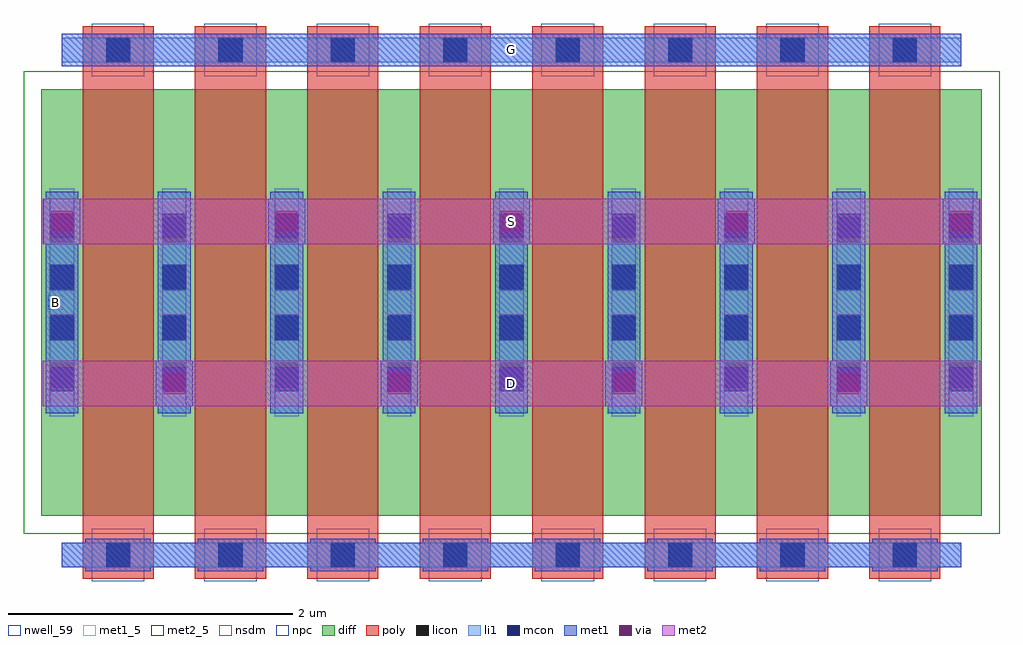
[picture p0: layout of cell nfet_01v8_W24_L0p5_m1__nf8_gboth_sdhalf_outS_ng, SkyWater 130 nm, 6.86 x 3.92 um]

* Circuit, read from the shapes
.subckt nfet_01v8_W24_L0p5_m1__nf8_gboth_sdhalf_outS_ng B D G S
XM1 D G S B sky130_fd_pr__nfet_01v8 w=3 l=0.5 m=8
.ends

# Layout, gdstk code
import gdstk
lib = gdstk.Library(unit=1e-6, precision=1e-09)
def R(c, l, rs):  # rectangles x0, y0, x1, y1
    for r in rs: c.add(gdstk.rectangle(r[:2], r[2:], *l))
def A(c, l, x, y, w, h, nx, ny, dx, dy):  # array of equal rectangles
    R(c, l, [(x+i*dx, y+j*dy, x+i*dx+w, y+j*dy+h) for i in range(nx) for j in range(ny)])
nwell_59 = (64, 59)
diff = (65, 20)
poly = (66, 20)
licon = (66, 44)
li1 = (67, 20)
mcon = (67, 44)
met1_5 = (68, 5)
met1 = (68, 20)
via = (68, 44)
met2_5 = (69, 5)
met2 = (69, 20)
nsdm = (93, 44)
npc = (95, 20)

sky130_fd_pr__nfet_01v8_ = lib.new_cell('sky130_fd_pr__nfet_01v8_PUYKET')
R(sky130_fd_pr__nfet_01v8_, diff, [(-3.305,-1.5,3.305,1.5)])
A(sky130_fd_pr__nfet_01v8_, poly, -3.015, -1.94, 0.5, 3.88, 8, 1, 0.79, 0)
A(sky130_fd_pr__nfet_01v8_, licon, -2.85, -1.86, 0.17, 0.17, 8, 2, 0.79, 3.55)
A(sky130_fd_pr__nfet_01v8_, licon, -3.245, -0.595, 0.17, 0.17, 9, 4, 0.79, 0.34)
A(sky130_fd_pr__nfet_01v8_, li1, -3.245, -0.8, 0.17, 1.6, 9, 1, 0.79, 0)
R(sky130_fd_pr__nfet_01v8_, li1, [(-3.16,-1.86,3.16,-1.69), (-3.16,1.69,3.16,1.86)])
A(sky130_fd_pr__nfet_01v8_, mcon, -2.85, -1.86, 0.17, 0.17, 8, 2, 0.79, 3.55)
A(sky130_fd_pr__nfet_01v8_, mcon, -3.245, -0.625, 0.17, 0.17, 9, 4, 0.79, 0.36)
A(sky130_fd_pr__nfet_01v8_, met1, -2.995, -1.89, 0.46, 0.03, 8, 2, 0.79, 0.2)
A(sky130_fd_pr__nfet_01v8_, met1, -3.275, -0.78, 0.23, 1.56, 9, 1, 0.79, 0)
A(sky130_fd_pr__nfet_01v8_, met1, -2.995, 1.66, 0.46, 0.03, 8, 2, 0.79, 0.2)
R(sky130_fd_pr__nfet_01v8_, met1, [(-3.16,-1.86,3.16,-1.69), (-3.16,1.69,3.16,1.86)])
R(sky130_fd_pr__nfet_01v8_, nsdm, [(-3.43,-1.625,3.43,1.625)])
A(sky130_fd_pr__nfet_01v8_, npc, -2.95, -1.96, 0.37, 0.37, 8, 2, 0.79, 3.55)
sky130_fd_pr__nfet_01v8_.add(gdstk.Label('D0', (-3.16,0), layer=67, texttype=5))
sky130_fd_pr__nfet_01v8_.add(gdstk.Label('G', (2.765,1.775), layer=67, texttype=5))
sky130_fd_pr__nfet_01v8_.add(gdstk.Label('G', (1.975,1.775), layer=67, texttype=5))
sky130_fd_pr__nfet_01v8_.add(gdstk.Label('G', (1.185,1.775), layer=67, texttype=5))
sky130_fd_pr__nfet_01v8_.add(gdstk.Label('G', (0.395,1.775), layer=67, texttype=5))
sky130_fd_pr__nfet_01v8_.add(gdstk.Label('G', (-0.395,1.775), layer=67, texttype=5))
sky130_fd_pr__nfet_01v8_.add(gdstk.Label('G', (-1.185,1.775), layer=67, texttype=5))
sky130_fd_pr__nfet_01v8_.add(gdstk.Label('G', (-1.975,1.775), layer=67, texttype=5))
sky130_fd_pr__nfet_01v8_.add(gdstk.Label('G', (-2.765,1.775), layer=67, texttype=5))
sky130_fd_pr__nfet_01v8_.add(gdstk.Label('S1', (-2.37,0), layer=67, texttype=5))
sky130_fd_pr__nfet_01v8_.add(gdstk.Label('D2', (-1.58,0), layer=67, texttype=5))
sky130_fd_pr__nfet_01v8_.add(gdstk.Label('S3', (-0.79,0), layer=67, texttype=5))
sky130_fd_pr__nfet_01v8_.add(gdstk.Label('D4', (0,0), layer=67, texttype=5))
sky130_fd_pr__nfet_01v8_.add(gdstk.Label('S5', (0.79,0), layer=67, texttype=5))
sky130_fd_pr__nfet_01v8_.add(gdstk.Label('D6', (1.58,0), layer=67, texttype=5))
sky130_fd_pr__nfet_01v8_.add(gdstk.Label('S7', (2.37,0), layer=67, texttype=5))

nfet_01v8_w24_l0p5_m1__n = lib.new_cell('nfet_01v8_W24_L0p5_m1__nf8_gboth_sdhalf_outS_ng')
R(nfet_01v8_w24_l0p5_m1__n, nwell_59, [(0.05,1.89,0.15,1.99)])
R(nfet_01v8_w24_l0p5_m1__n, met1_5, [(0.145,3.6,6.465,3.83)])
A(nfet_01v8_w24_l0p5_m1__n, met1, 0.805, 1.21, 0.26, 0.32, 4, 1, 1.58, 0)
A(nfet_01v8_w24_l0p5_m1__n, met1, 0.015, 2.35, 0.26, 0.32, 5, 1, 1.58, 0)
R(nfet_01v8_w24_l0p5_m1__n, met1, [(0.145,3.6,6.465,3.83)])
A(nfet_01v8_w24_l0p5_m1__n, via, 0.86, 1.295, 0.15, 0.15, 4, 1, 1.58, 0)
A(nfet_01v8_w24_l0p5_m1__n, via, 0.07, 2.435, 0.15, 0.15, 5, 1, 1.58, 0)
R(nfet_01v8_w24_l0p5_m1__n, met2_5, [(0.01,1.21,6.6,1.53), (0.01,2.35,6.6,2.67)])
R(nfet_01v8_w24_l0p5_m1__n, met2, [(0.01,1.21,6.6,1.53), (0.01,2.35,6.6,2.67)])
nfet_01v8_w24_l0p5_m1__n.add(gdstk.Reference(sky130_fd_pr__nfet_01v8_, (3.305,1.94)))
nfet_01v8_w24_l0p5_m1__n.add(gdstk.Label('S', (3.305,2.51), layer=69, texttype=5))
nfet_01v8_w24_l0p5_m1__n.add(gdstk.Label('D', (3.305,1.37), layer=69, texttype=5))
nfet_01v8_w24_l0p5_m1__n.add(gdstk.Label('G', (3.305,3.715), layer=68, texttype=5))
nfet_01v8_w24_l0p5_m1__n.add(gdstk.Label('B', (0.1,1.94), layer=64, texttype=59))

lib.write_gds('nfet_01v8_W24_L0p5_m1__nf8_gboth_sdhalf_outS_ng.gds')
